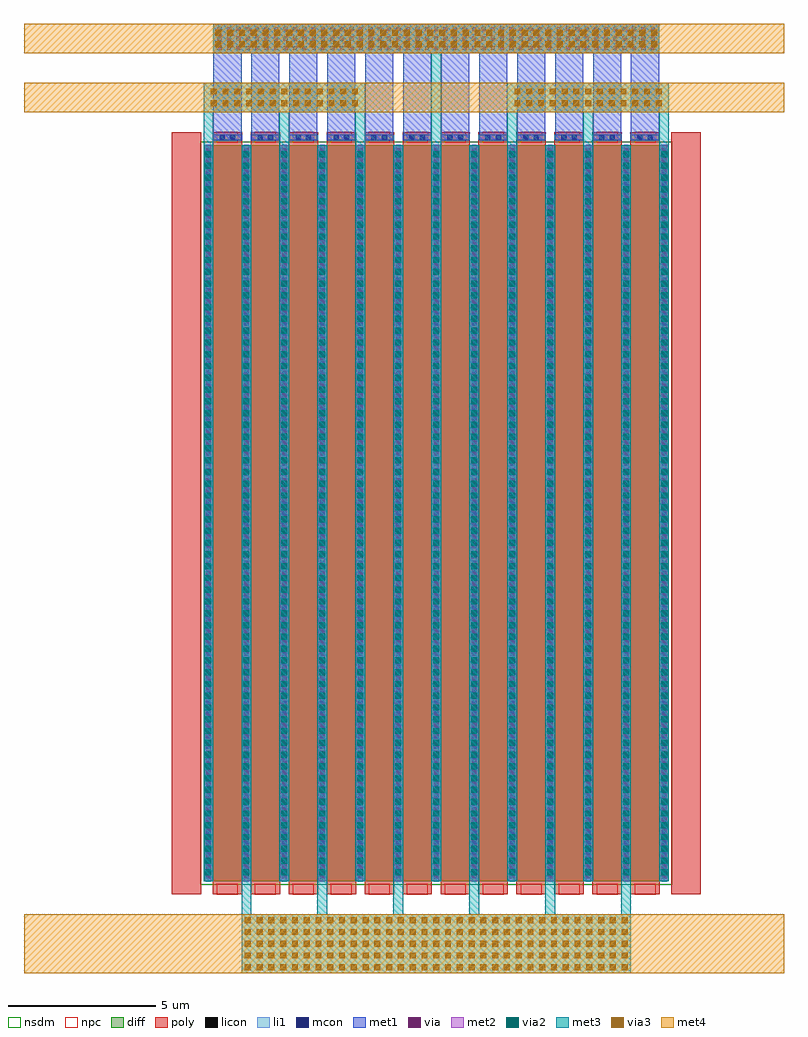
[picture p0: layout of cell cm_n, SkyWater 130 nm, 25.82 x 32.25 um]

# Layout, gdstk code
import gdstk
lib = gdstk.Library(unit=1e-6, precision=1e-09)
def R(c, l, rs):  # rectangles x0, y0, x1, y1
    for r in rs: c.add(gdstk.rectangle(r[:2], r[2:], *l))
def A(c, l, x, y, w, h, nx, ny, dx, dy):  # array of equal rectangles
    R(c, l, [(x+i*dx, y+j*dy, x+i*dx+w, y+j*dy+h) for i in range(nx) for j in range(ny)])
diff = (65, 20)
poly = (66, 20)
licon = (66, 44)
li1 = (67, 20)
mcon = (67, 44)
met1 = (68, 20)
via = (68, 44)
met2 = (69, 20)
via2 = (69, 44)
met3 = (70, 20)
via3 = (70, 44)
met4 = (71, 20)
nsdm = (93, 44)
npc = (95, 20)

cm_n = lib.new_cell('cm_n')
R(cm_n, diff, [(0,0.44,15.77,25.44)])
A(cm_n, poly, 0.29, 0, 1, 25.88, 12, 1, 1.29, 0)
R(cm_n, poly, [(-1.1,0,-0.1,25.88), (15.87,0,16.87,25.88)])
A(cm_n, licon, 0.06, 0.615, 0.17, 0.17, 13, 73, 1.29, 0.34)
R(cm_n, licon, [(0.535,25.63,0.705,25.8), (0.875,25.63,1.045,25.8), (1.825,25.63,1.995,25.8), (2.165,25.63,2.335,25.8), (3.115,25.63,3.285,25.8), (3.455,25.63,3.625,25.8), (4.405,25.63,4.575,25.8), (4.745,25.63,4.915,25.8), (5.695,25.63,5.865,25.8), (6.035,25.63,6.205,25.8), (6.985,25.63,7.155,25.8), (7.325,25.63,7.495,25.8), (8.275,25.63,8.445,25.8), (8.615,25.63,8.785,25.8), (9.565,25.63,9.735,25.8), (9.905,25.63,10.075,25.8), (10.855,25.63,11.025,25.8), (11.195,25.63,11.365,25.8), (12.145,25.63,12.315,25.8), (12.485,25.63,12.655,25.8), (13.435,25.63,13.605,25.8), (13.775,25.63,13.945,25.8), (14.725,25.63,14.895,25.8), (15.065,25.63,15.235,25.8)])
A(cm_n, li1, 0.06, 0.42, 0.17, 25.04, 13, 1, 1.29, 0)
A(cm_n, li1, 0.29, 25.63, 1, 0.17, 12, 1, 1.29, 0)
A(cm_n, mcon, 0.06, 0.615, 0.17, 0.17, 13, 69, 1.29, 0.36)
R(cm_n, mcon, [(0.525,25.63,0.695,25.8), (0.885,25.63,1.055,25.8), (1.815,25.63,1.985,25.8), (2.175,25.63,2.345,25.8), (3.105,25.63,3.275,25.8), (3.465,25.63,3.635,25.8), (4.395,25.63,4.565,25.8), (4.755,25.63,4.925,25.8), (5.685,25.63,5.855,25.8), (6.045,25.63,6.215,25.8), (6.975,25.63,7.145,25.8), (7.335,25.63,7.505,25.8), (8.265,25.63,8.435,25.8), (8.625,25.63,8.795,25.8), (9.555,25.63,9.725,25.8), (9.915,25.63,10.085,25.8), (10.845,25.63,11.015,25.8), (11.205,25.63,11.375,25.8), (12.135,25.63,12.305,25.8), (12.495,25.63,12.665,25.8), (13.425,25.63,13.595,25.8), (13.785,25.63,13.955,25.8), (14.715,25.63,14.885,25.8), (15.075,25.63,15.245,25.8)])
A(cm_n, met1, 0.03, 0.44, 0.23, 25, 13, 1, 1.29, 0)
A(cm_n, met1, 0.31, 25.6, 0.96, 3.964, 12, 1, 1.29, 0)
A(cm_n, met1, 1.6, 25.6, 0.96, 0.23, 11, 1, 1.29, 0)
A(cm_n, via, 0.07, 0.545, 0.15, 0.15, 13, 78, 1.29, 0.32)
A(cm_n, via, 0.45, 28.669, 0.15, 0.15, 47, 3, 0.32, 0.32)
A(cm_n, via2, 0.045, 0.64, 0.2, 0.2, 13, 62, 1.29, 0.4)
A(cm_n, via2, 0.385, 28.764, 0.2, 0.2, 38, 2, 0.4, 0.4)
A(cm_n, met3, 1.27, -2.685, 0.33, 3.125, 6, 1, 2.58, 0)
A(cm_n, met3, -0.02, 25.44, 0.33, 2.124, 3, 1, 2.58, 0)
A(cm_n, met3, 10.3, 25.44, 0.33, 2.124, 3, 1, 2.58, 0)
R(cm_n, met3, [(7.72,25.44,8.05,29.564)])
A(cm_n, via3, 1.385, -2.585, 0.2, 0.2, 33, 5, 0.4, 0.4)
A(cm_n, via3, 0.225, 26.764, 0.2, 0.2, 13, 2, 0.4, 0.4)
A(cm_n, via3, 10.545, 26.764, 0.2, 0.2, 13, 2, 0.4, 0.4)
A(cm_n, via3, 0.385, 28.764, 0.2, 0.2, 38, 2, 0.4, 0.4)
R(cm_n, nsdm, [(-0.125,0.315,15.895,25.565)])
A(cm_n, npc, 0.435, -0.02, 0.71, 0.37, 12, 2, 1.29, 25.55)
cm_n.add(gdstk.FlexPath([(0.145,25.44),(0.145,0.44)], 0.33, ends="flush", simple_path=True, layer=68, datatype=20))  # met1
cm_n.add(gdstk.FlexPath([(1.435,25.44),(1.435,0.44)], 0.33, ends="flush", simple_path=True, layer=68, datatype=20))  # met1
cm_n.add(gdstk.FlexPath([(2.725,25.44),(2.725,0.44)], 0.33, ends="flush", simple_path=True, layer=68, datatype=20))  # met1
cm_n.add(gdstk.FlexPath([(4.015,25.44),(4.015,0.44)], 0.33, ends="flush", simple_path=True, layer=68, datatype=20))  # met1
cm_n.add(gdstk.FlexPath([(5.305,25.44),(5.305,0.44)], 0.33, ends="flush", simple_path=True, layer=68, datatype=20))  # met1
cm_n.add(gdstk.FlexPath([(6.595,25.44),(6.595,0.44)], 0.33, ends="flush", simple_path=True, layer=68, datatype=20))  # met1
cm_n.add(gdstk.FlexPath([(7.885,25.44),(7.885,0.44)], 0.33, ends="flush", simple_path=True, layer=68, datatype=20))  # met1
cm_n.add(gdstk.FlexPath([(9.175,25.44),(9.175,0.44)], 0.33, ends="flush", simple_path=True, layer=68, datatype=20))  # met1
cm_n.add(gdstk.FlexPath([(10.465,25.44),(10.465,0.44)], 0.33, ends="flush", simple_path=True, layer=68, datatype=20))  # met1
cm_n.add(gdstk.FlexPath([(11.755,25.44),(11.755,0.44)], 0.33, ends="flush", simple_path=True, layer=68, datatype=20))  # met1
cm_n.add(gdstk.FlexPath([(13.045,25.44),(13.045,0.44)], 0.33, ends="flush", simple_path=True, layer=68, datatype=20))  # met1
cm_n.add(gdstk.FlexPath([(14.335,25.44),(14.335,0.44)], 0.33, ends="flush", simple_path=True, layer=68, datatype=20))  # met1
cm_n.add(gdstk.FlexPath([(15.625,25.44),(15.625,0.44)], 0.33, ends="flush", simple_path=True, layer=68, datatype=20))  # met1
cm_n.add(gdstk.FlexPath([(7.885,29.564),(7.885,28.564)], 15.15, ends="flush", simple_path=True, layer=68, datatype=20))  # met1
cm_n.add(gdstk.FlexPath([(-6.119,-1.685),(19.698,-1.685)], 2, ends="flush", simple_path=True, layer=71, datatype=20))  # met4
cm_n.add(gdstk.FlexPath([(-6.119,27.064),(19.698,27.064)], 1, ends="flush", simple_path=True, layer=71, datatype=20))  # met4
cm_n.add(gdstk.FlexPath([(-6.119,29.064),(19.698,29.064)], 1, ends="flush", simple_path=True, layer=71, datatype=20))  # met4
cm_n.add(gdstk.FlexPath([(7.885,-0.685),(7.885,-2.685)], 13.23, ends="flush", simple_path=True, layer=71, datatype=20))  # met4
cm_n.add(gdstk.FlexPath([(7.885,29.564),(7.885,28.564)], 15.15, ends="flush", simple_path=True, layer=71, datatype=20))  # met4
cm_n.add(gdstk.FlexPath([(2.725,27.564),(2.725,26.564)], 5.49, ends="flush", simple_path=True, layer=71, datatype=20))  # met4
cm_n.add(gdstk.FlexPath([(13.045,27.564),(13.045,26.564)], 5.49, ends="flush", simple_path=True, layer=71, datatype=20))  # met4
cm_n.add(gdstk.FlexPath([(0.145,25.44),(0.145,0.44)], 0.33, ends="flush", simple_path=True, layer=70, datatype=20))  # met3
cm_n.add(gdstk.FlexPath([(1.435,25.44),(1.435,0.44)], 0.33, ends="flush", simple_path=True, layer=70, datatype=20))  # met3
cm_n.add(gdstk.FlexPath([(2.725,25.44),(2.725,0.44)], 0.33, ends="flush", simple_path=True, layer=70, datatype=20))  # met3
cm_n.add(gdstk.FlexPath([(4.015,25.44),(4.015,0.44)], 0.33, ends="flush", simple_path=True, layer=70, datatype=20))  # met3
cm_n.add(gdstk.FlexPath([(5.305,25.44),(5.305,0.44)], 0.33, ends="flush", simple_path=True, layer=70, datatype=20))  # met3
cm_n.add(gdstk.FlexPath([(6.595,25.44),(6.595,0.44)], 0.33, ends="flush", simple_path=True, layer=70, datatype=20))  # met3
cm_n.add(gdstk.FlexPath([(7.885,25.44),(7.885,0.44)], 0.33, ends="flush", simple_path=True, layer=70, datatype=20))  # met3
cm_n.add(gdstk.FlexPath([(9.175,25.44),(9.175,0.44)], 0.33, ends="flush", simple_path=True, layer=70, datatype=20))  # met3
cm_n.add(gdstk.FlexPath([(10.465,25.44),(10.465,0.44)], 0.33, ends="flush", simple_path=True, layer=70, datatype=20))  # met3
cm_n.add(gdstk.FlexPath([(11.755,25.44),(11.755,0.44)], 0.33, ends="flush", simple_path=True, layer=70, datatype=20))  # met3
cm_n.add(gdstk.FlexPath([(13.045,25.44),(13.045,0.44)], 0.33, ends="flush", simple_path=True, layer=70, datatype=20))  # met3
cm_n.add(gdstk.FlexPath([(14.335,25.44),(14.335,0.44)], 0.33, ends="flush", simple_path=True, layer=70, datatype=20))  # met3
cm_n.add(gdstk.FlexPath([(15.625,25.44),(15.625,0.44)], 0.33, ends="flush", simple_path=True, layer=70, datatype=20))  # met3
cm_n.add(gdstk.FlexPath([(7.885,-0.685),(7.885,-2.685)], 13.23, ends="flush", simple_path=True, layer=70, datatype=20))  # met3
cm_n.add(gdstk.FlexPath([(7.885,29.564),(7.885,28.564)], 15.15, ends="flush", simple_path=True, layer=70, datatype=20))  # met3
cm_n.add(gdstk.FlexPath([(2.725,27.564),(2.725,26.564)], 5.49, ends="flush", simple_path=True, layer=70, datatype=20))  # met3
cm_n.add(gdstk.FlexPath([(13.045,27.564),(13.045,26.564)], 5.49, ends="flush", simple_path=True, layer=70, datatype=20))  # met3
cm_n.add(gdstk.FlexPath([(0.145,25.44),(0.145,0.44)], 0.33, ends="flush", simple_path=True, layer=69, datatype=20))  # met2
cm_n.add(gdstk.FlexPath([(1.435,25.44),(1.435,0.44)], 0.33, ends="flush", simple_path=True, layer=69, datatype=20))  # met2
cm_n.add(gdstk.FlexPath([(2.725,25.44),(2.725,0.44)], 0.33, ends="flush", simple_path=True, layer=69, datatype=20))  # met2
cm_n.add(gdstk.FlexPath([(4.015,25.44),(4.015,0.44)], 0.33, ends="flush", simple_path=True, layer=69, datatype=20))  # met2
cm_n.add(gdstk.FlexPath([(5.305,25.44),(5.305,0.44)], 0.33, ends="flush", simple_path=True, layer=69, datatype=20))  # met2
cm_n.add(gdstk.FlexPath([(6.595,25.44),(6.595,0.44)], 0.33, ends="flush", simple_path=True, layer=69, datatype=20))  # met2
cm_n.add(gdstk.FlexPath([(7.885,25.44),(7.885,0.44)], 0.33, ends="flush", simple_path=True, layer=69, datatype=20))  # met2
cm_n.add(gdstk.FlexPath([(9.175,25.44),(9.175,0.44)], 0.33, ends="flush", simple_path=True, layer=69, datatype=20))  # met2
cm_n.add(gdstk.FlexPath([(10.465,25.44),(10.465,0.44)], 0.33, ends="flush", simple_path=True, layer=69, datatype=20))  # met2
cm_n.add(gdstk.FlexPath([(11.755,25.44),(11.755,0.44)], 0.33, ends="flush", simple_path=True, layer=69, datatype=20))  # met2
cm_n.add(gdstk.FlexPath([(13.045,25.44),(13.045,0.44)], 0.33, ends="flush", simple_path=True, layer=69, datatype=20))  # met2
cm_n.add(gdstk.FlexPath([(14.335,25.44),(14.335,0.44)], 0.33, ends="flush", simple_path=True, layer=69, datatype=20))  # met2
cm_n.add(gdstk.FlexPath([(15.625,25.44),(15.625,0.44)], 0.33, ends="flush", simple_path=True, layer=69, datatype=20))  # met2
cm_n.add(gdstk.FlexPath([(7.885,29.564),(7.885,28.564)], 15.15, ends="flush", simple_path=True, layer=69, datatype=20))  # met2
cm_n.add(gdstk.Label('DB', (-8.137,26.801), layer=69, texttype=44))
cm_n.add(gdstk.Label('DA', (-7.685,28.739), layer=69, texttype=44))
cm_n.add(gdstk.Label('S', (-8.266,-1.937), layer=69, texttype=44))

lib.write_gds('cm_n.gds')
